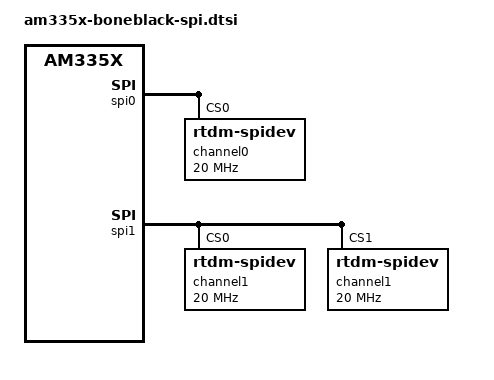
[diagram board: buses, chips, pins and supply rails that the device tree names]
&am33xx_pinmux {
    spi0_pins: pinmux_spi0_pins {
        pinctrl-single,pins = <
            /* This output signal is also used as a re-timing input. */
            0x150 0x30	/* P9_22 spi0_sclk, INPUT_PULLUP | MODE0 */
			0x154 0x30	/* P9_21 spi0_d0, INPUT_PULLUP | MODE0 */
			0x158 0x10	/* P9_18 spi0_d1, OUTPUT_PULLUP | MODE0 */
            0x15c 0x10  /* P9_17 spi0_cs0, OUTPUT_PULLUP | MODE0 */
        >;
    };

    spi1_pins: pinmux_spi1_pins {
        pinctrl-single,pins = <
            /* This output signal is also used as a re-timing input. */
            0x190 0x33      /* P9_31 spi1_sclk, INPUT_PULLUP | MODE3 */
            0x194 0x33      /* P9_29 spi1_d0, INPUT_PULLUP | MODE3 */
            0x198 0x13      /* P9_30 spi1_d1, OUTPUT_PULLUP | MODE3 */
            0x19c 0x13      /* P9_28 spi1_cs0, OUTPUT_PULLUP | MODE3 */
            0x164 0x12      /* P9_42 spi1_cs1 OUTPUT_PULLUP | MODE2 */
        >;
    };
};

&spi0 {
    status = "okay";
    pinctrl-names = "default";
    pinctrl-0 = <&spi0_pins>;

    #address-cells = <1>;
    #size-cells = <0>;

    /* add any spi devices connected here */
    channel0@0 {
        #address-cells = <1>;
        #size-cells = <0>;
        //compatible = "microchip,enc28j60";
        compatible = "rtdm-spidev";
        reg = <0>;
        spi-max-frequency = <20000000>;
        //interrupt-parent=<&gpio1>;
        //interrupts=<15 0x2>; /* falling edge, P8(GPIO1_15) */
        //spi-cpol;
        //spi-cpha;
    };
};

&spi1 {
    status = "okay";
    pinctrl-names = "default";
    pinctrl-0 = <&spi1_pins>;

    #address-cells = <1>;
    #size-cells = <0>;

    /* add any spi devices connected here */
    channel1@0 {
        #address-cells = <1>;
        #size-cells = <0>;
        //compatible = "microchip,enc28j60";
        compatible = "rtdm-spidev";
        reg = <0>;
        spi-max-frequency = <20000000>;
        //interrupt-parent=<&gpio1>;
        //interrupts=<15 0x2>; /* falling edge, P8(GPIO1_15) */
        //spi-cpol;
        //spi-cpha;
    };
    channel1@1 {
        #address-cells = <1>;
        #size-cells = <0>;
        compatible = "rtdm-spidev";
        reg = <1>;
        spi-max-frequency = <20000000>;
    };

};
